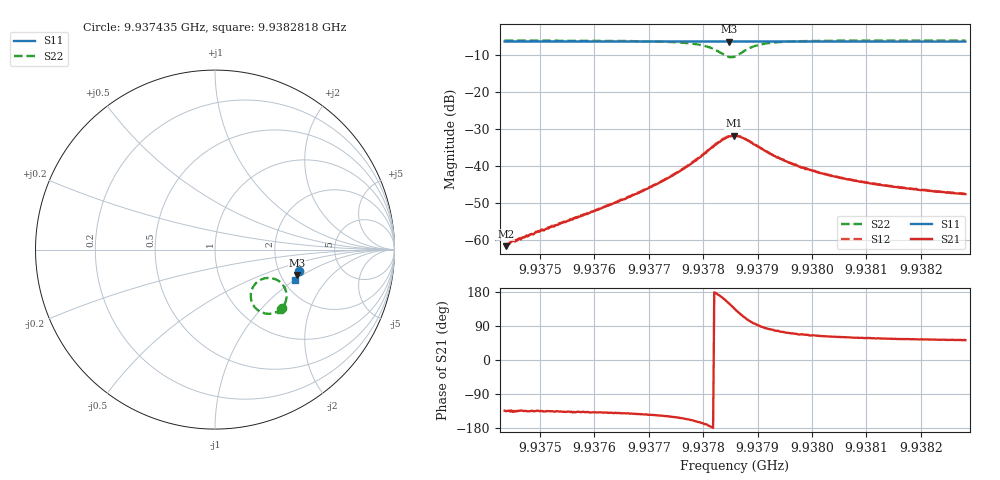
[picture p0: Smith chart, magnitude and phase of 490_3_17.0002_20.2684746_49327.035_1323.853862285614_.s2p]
#  HZ  S  RI  R  50.00
! Rohde & Schwarz Vector Network Analyzer
! Rohde-Schwarz,ZNB20-2Port,1311601062101988,3.16
! Created: UTC 3/20/2024, 11:14:04 PM
! freq[Hz]  re:S11  im:S11  re:S21  im:S21  re:S12  im:S12  re:S22  im:S22
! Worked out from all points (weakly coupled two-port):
!   401 points, 9.937435 GHz to 9.9382818 GHz, reference 50 ohm
!   highest |S21| = -31.79 dB at 9.9378563 GHz (marker M1); lowest = -61.7 dB at 9.9374372 GHz (marker M2)
!   lowest |S11| = -6.4 dB at 9.9378478 GHz (marker M3), VSWR 2.83, Z = 122 - j45.3 ohm
!   |S11| at or under -10 dB: nowhere
!   |S22| runs from -10.6 to -6.1 dB; largest |S21 - S12| = 0.0011
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9.93743504e9  0.4685 -0.1174  -0.0006 -0.000625  -0.000582 -0.000614  0.3753 -0.3257
9.93743716e9  0.4686 -0.1174  -0.000582 -0.000586  -0.000634 -0.000621  0.375 -0.3259
9.93744986e9  0.4682 -0.1185  -0.000705 -0.000658  -0.000685 -0.00068  0.3739 -0.3271
9.93757688e9  0.4654 -0.1269  -0.00158 -0.00145  -0.0016 -0.00144  0.3598 -0.3381
9.93766155e9  0.4633 -0.1326  -0.00291 -0.00239  -0.00304 -0.00233  0.3436 -0.3475
9.93771871e9  0.4618 -0.1366  -0.00492 -0.00328  -0.00505 -0.00322  0.3239 -0.3545
9.93776317e9  0.4603 -0.1395  -0.0082 -0.00397  -0.00841 -0.00388  0.2946 -0.3574
9.93780339e9  0.4587 -0.1421  -0.0146 -0.0027  -0.015 -0.00248  0.2431 -0.3404
9.93781821e9  0.4578 -0.143  -0.018 -0.000222  -0.0186 0.00027  0.2175 -0.3156
9.93783091e9  0.457 -0.1433  -0.0209 0.0039  -0.0214 0.00477  0.201 -0.2775
9.93784784e9  0.4562 -0.1432  -0.0215 0.0131  -0.0212 0.0139  0.2129 -0.2069
9.93785631e9  0.4563 -0.1432  -0.0188 0.0175  -0.0183 0.0183  0.2405 -0.1766
9.93785843e9  0.4565 -0.1433  -0.0178 0.0182  -0.0174 0.0193  0.249 -0.1713
9.93786901e9  0.4565 -0.1435  -0.0124 0.0212  -0.0119 0.022  0.2951 -0.158
9.93788383e9  0.4571 -0.1441  -0.00528 0.0211  -0.00492 0.0215  0.3484 -0.1707
9.93790923e9  0.4573 -0.1463  0.000864 0.0168  0.00134 0.0169  0.3897 -0.2153
9.93793252e9  0.457 -0.1481  0.0029 0.0133  0.00322 0.0133  0.3985 -0.2471
9.93796004e9  0.4566 -0.1502  0.00358 0.0104  0.0039 0.0103  0.3982 -0.2714
9.93800026e9  0.4556 -0.1531  0.00371 0.00788  0.00385 0.00781  0.3933 -0.293
9.9380553e9  0.4543 -0.157  0.00339 0.00591  0.00353 0.00594  0.3857 -0.3095
9.9381421e9  0.4518 -0.1626  0.00297 0.00443  0.00308 0.00444  0.3758 -0.3247
9.93828181e9  0.448 -0.1715  0.00255 0.0033  0.00263 0.00331  0.3636 -0.339
